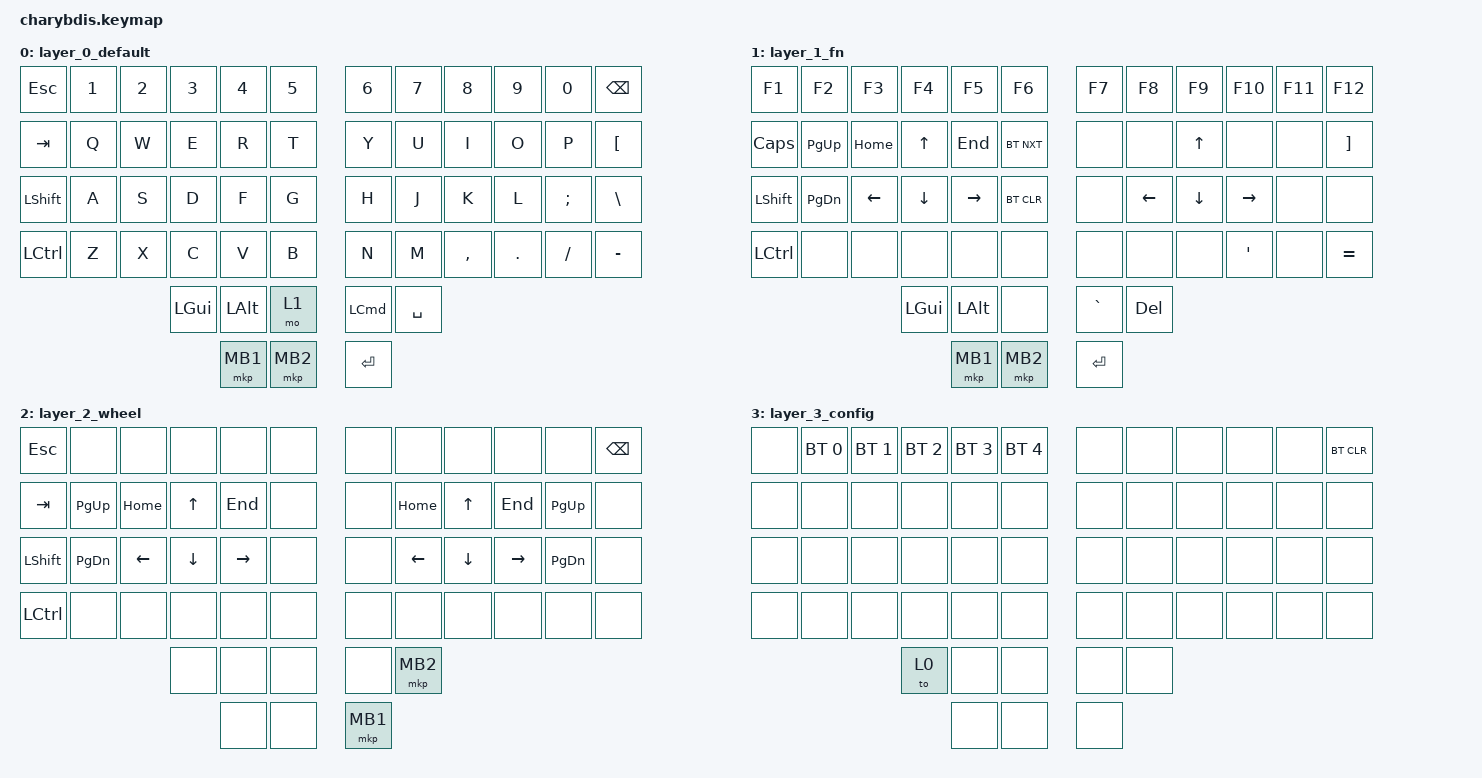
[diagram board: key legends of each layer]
// Charybdis keymap based on zmk-for-charybdis reference
// Adapted for modern ZMK input-processors API

#include <behaviors.dtsi>
#include <dt-bindings/zmk/keys.h>
#include <dt-bindings/zmk/bt.h>
#include <dt-bindings/zmk/mouse.h>

// Layer-tap timing configuration
&lt {
    tapping-term-ms = <200>;
    flavor = "balanced";
    quick-tap-ms = <150>;
};

/ {
    // Key combinations for special functions
    combos {
        compatible = "zmk,combos";

        combo_delete {
            bindings = <&kp DELETE>;
            key-positions = <24 11>;
        };

        combo_layer3 {
            bindings = <&tog 3>;
            key-positions = <48 49 50>;
        };

        combo_layer0 {
            bindings = <&to 0>;
            key-positions = <51 52>;
        };
    };

    keymap {
        compatible = "zmk,keymap";

        // Layer 0: Default - QWERTY layout (matched to reference)
        // Note: trackball-bindings <&tmv_coarse> in reference (old API, not applicable to new input-processors)
        layer_0_default {
            bindings = <
&kp ESC         &kp N1  &kp N2  &kp N3        &kp N4     &kp N5      &kp N6     &kp N7     &kp N8     &kp N9            &kp N0    &kp BACKSPACE
&kp TAB         &kp Q   &kp W   &kp E         &kp R      &kp T       &kp Y      &kp U      &kp I      &kp O             &kp P     &kp LBKT
&kp LSHFT       &kp A   &kp S   &kp D         &kp F      &kp G       &kp H      &kp J      &kp K      &kp L             &kp SEMI  &kp BSLH  
&kp LCTRL       &kp Z   &kp X   &kp C         &kp V      &kp B       &kp N      &kp M      &kp COMMA  &kp PERIOD        &kp FSLH  &kp MINUS
                                &kp LGUI      &kp LALT   &mo 1       &kp LEFT_COMMAND &kp SPACE
                                              &mkp MB1   &mkp MB2    &kp ENTER
            >;
        };

        // Layer 1: Function - F-keys, navigation (matched to reference)
        // Note: trackball-bindings <&tsl> in reference (scroll mode, old API)
        layer_1_fn {
            bindings = <
&kp F1          &kp F2    &kp F3   &kp F4   &kp F5    &kp F6        &kp F7     &kp F8      &kp F9      &kp F10            &kp F11  &kp F12
&kp CAPS        &kp PG_UP &kp HOME &kp UP   &kp END   &bt BT_NXT    &none      &none       &kp UP      &none              &none    &kp RBKT
&kp LSHFT       &kp PG_DN &kp LEFT &kp DOWN &kp RIGHT &bt BT_CLR    &none      &kp LEFT    &kp DOWN    &kp RIGHT          &none    &none
&kp LCTRL       &none     &none    &none    &none     &none         &none      &none       &none       &kp SQT            &none    &kp EQUAL
                                   &kp LGUI &kp LALT  &none         &kp GRAVE  &kp DELETE
                                            &mkp MB1  &mkp MB2      &kp ENTER
            >;
        };

        // Layer 2: Wheel - Scroll mode
        // Note: trackball-bindings <&tsl> in reference (scroll mode, old API)
        layer_2_wheel {
            bindings = <
&kp ESC         &none      &none      &none      &none       &none    &none      &none      &none      &none       &none      &kp BACKSPACE
&kp TAB         &kp PG_UP  &kp HOME   &kp UP     &kp END     &none    &none      &kp HOME   &kp UP     &kp END     &kp PG_UP  &none
&kp LSHFT       &kp PG_DN  &kp LEFT   &kp DOWN   &kp RIGHT   &none    &none      &kp LEFT   &kp DOWN   &kp RIGHT   &kp PG_DN  &none
&kp LCTRL       &none      &none      &none      &none       &none    &none      &none      &none      &none       &none      &none
                                      &none      &none       &none    &none      &mkp MB2
                                                 &none       &none    &mkp MB1
            >;
        };

        // Layer 3: Config - Bluetooth pairing
        layer_3_config {
            bindings = <
&none  &bt BT_SEL 0  &bt BT_SEL 1  &bt BT_SEL 2  &bt BT_SEL 3  &bt BT_SEL 4    &none  &none  &none  &none  &none  &bt BT_CLR
&none  &none         &none         &none         &none         &none           &none  &none  &none  &none  &none  &none
&none  &none         &none         &none         &none         &none           &none  &none  &none  &none  &none  &none
&none  &none         &none         &none         &none         &none           &none  &none  &none  &none  &none  &none
                                   &to 0         &none         &none           &none  &none
                                                 &none         &none           &none
            >;
        };
    };
};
